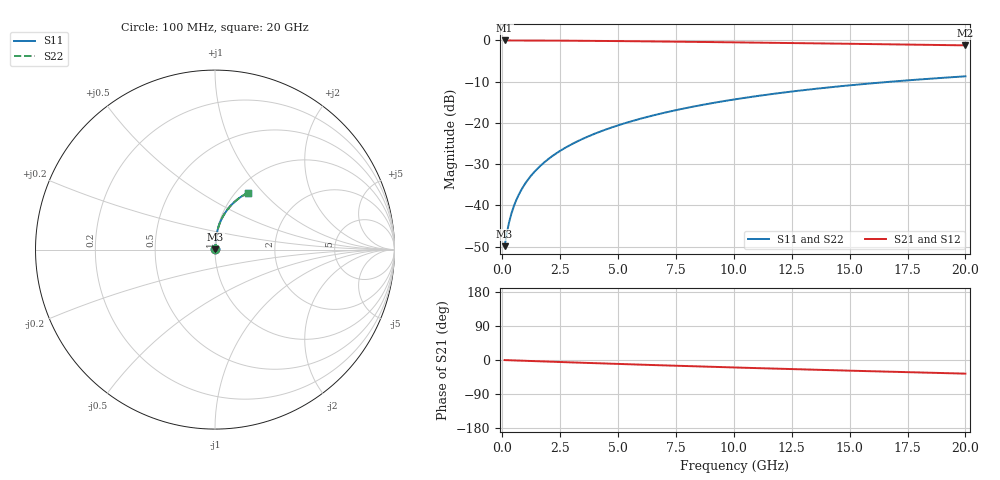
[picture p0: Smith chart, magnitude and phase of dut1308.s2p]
! Touchstone file exported from HFSS 2024.1.0
!  File:  C:/UserFiles/LocalFiles/RDL_TSV_Batchsim/temp_RDL_top_1308_1780364556.aedt
!  Generated:  09:44:58 AM Jun  2, 2026
!  Design:  RDL_top
!  Project:  temp_RDL_top_1308_1780364556
!  Setup:  Setup1
!  Solution:  Sweep
! Variables:
!  dtsv = 10.80580581um
!  hbump = 3um
!  htsv = 67.62um
!  ldown = 100um
!  lrdl = 472.32um
!  p = 40
!  p1 = 53.99um
!  rhole = 1um
!  t = 450um
!  tdown = 3.915915916um
!  trdl = 3.5um
!  wdown = 15.38538539um
!  wrdl = 20.45um
# GHz S MA R 50.000000
! Terminal data exported
! Port[1] = Box2_T1
! Port[2] = Box2_T2
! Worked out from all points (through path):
!   200 points, 100 MHz to 20 GHz, reference 50 ohm
!   highest |S21| = -0.02 dB at 100 MHz (marker M1); lowest = -1.2 dB at 20 GHz (marker M2)
!   group delay of S21, straight-line fit = 4.96 ps
!   lowest |S11| = -49.9 dB at 100 MHz (marker M3), VSWR 1.01, Z = 50.3 + j0.196 ohm
!   |S11| at or under -10 dB: start of sweep to 16.83 GHz
!   |S22| runs from -49.9 to -8.7 dB; largest |S21 - S12| = 3.5e-15
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0.1  0.003192 37.7  0.9975 -0.2  0.9975 -0.2  0.003192 37.7
! Gamma 0 0 0 0
! Port Impedance 50 0 50 0
0.2  0.004668 55.8  0.9974 -0.4  0.9974 -0.4  0.004668 55.8
0.3  0.006331 64.3  0.9972 -0.7  0.9972 -0.7  0.006331 64.3
0.4  0.008038 69.3  0.9971 -0.9  0.9971 -0.9  0.008038 69.3
0.5  0.00976 72.5  0.9969 -1.1  0.9969 -1.1  0.009759 72.5
0.6  0.01149 74.8  0.9968 -1.3  0.9968 -1.3  0.01149 74.8
0.8  0.01499 77.9  0.9965 -1.7  0.9965 -1.7  0.01499 77.9
1.1  0.02031 80.6  0.996 -2.4  0.996 -2.4  0.0203 80.6
1.5  0.02748 82.5  0.9952 -3.2  0.9952 -3.2  0.02748 82.5
1.8  0.03292 83.3  0.9944 -3.8  0.9944 -3.8  0.03292 83.3
2.1  0.03839 83.8  0.9936 -4.5  0.9936 -4.5  0.03839 83.8
2.7  0.04946 84.3  0.9915 -5.7  0.9915 -5.7  0.04946 84.3
3.5  0.06445 84.3  0.9882 -7.4  0.9882 -7.4  0.06445 84.3
4.2  0.07778 84.0  0.9847 -8.8  0.9847 -8.8  0.07777 84.0
5  0.09323 83.4  0.9803 -10.4  0.9803 -10.4  0.09322 83.4
5.9  0.1108 82.4  0.9749 -12.1  0.9749 -12.1  0.1108 82.4
6.8  0.1286 81.3  0.9691 -13.9  0.9691 -13.9  0.1286 81.3
8.4  0.1603 79.0  0.9581 -16.8  0.9581 -16.8  0.1603 79.0
10.1  0.1937 76.3  0.946 -19.9  0.946 -19.9  0.1937 76.3
13.4  0.2562 70.7  0.9213 -25.5  0.9213 -25.5  0.2562 70.7
16.7  0.3141 65.1  0.8959 -30.9  0.8959 -30.9  0.314 65.1
20  0.3664 59.8  0.87 -36.0  0.87 -36.0  0.3664 59.8
